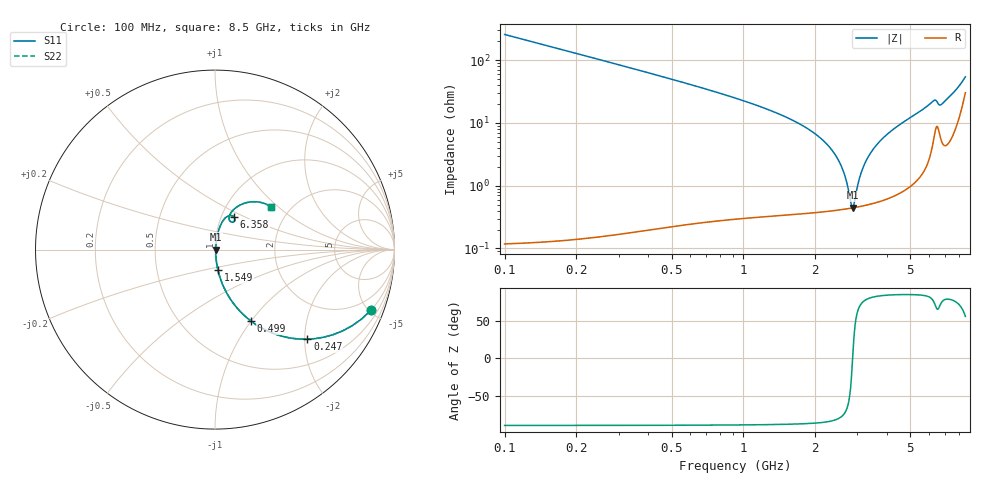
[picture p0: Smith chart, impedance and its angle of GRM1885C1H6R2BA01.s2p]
!Murata Part Number: GRM1885C1H6R2BA01
!These Parameters are Measured in Series Mode Connection
!Data Generated on Mar 30, 2021
!  o--ll--o
!Port1  Port2
!  o------o
!Operation Temp=25[degC], DC Bias Voltage=0[V]
!Freq. Start=100[MHz] Stop=9[GHz] 401[Steps]
# Hz S RI R 50
!Freq.(Hz) S11(Real) S11(Imag) S21(Real) S21(Imag) S12(Real) S12(Imag) S22(Real) S22(Imag)
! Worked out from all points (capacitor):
!   401 points, 100 MHz to 8.5 GHz, reference 50 ohm
!   read as one part in series: C = 6.2 pF near 142 MHz
!   lowest |Z| = 445 mohm at 2.872 GHz (marker M1)
!   series resonance near 2.866 GHz, so ESL is about 500 pH
!   S11 on the Smith chart (normalised r, x): 100 MHz: 1.00, -5.13; 247 MHz: 1.00, -2.06; 499 MHz: 1.00, -1.00; 1.549 GHz: 1.01, -0.24; 6.358 GHz: 1.15, +0.44; 8.5 GHz: 1.61, +0.90
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1e8  0.8678 -0.3385  0.1322 0.3385  0.1322 0.3385  0.8678 -0.3385
2.47e8  0.5152 -0.499  0.4848 0.499  0.4848 0.499  0.5152 -0.499
3.73e8  0.3141 -0.4628  0.6859 0.4628  0.6859 0.4628  0.3141 -0.4628
4.99e8  0.2 -0.3978  0.8 0.3978  0.8 0.3978  0.2 -0.3978
8.56e8  0.0717 -0.2528  0.9283 0.2528  0.9283 0.2528  0.0717 -0.2528
1.507e9  0.0184 -0.1212  0.9816 0.1212  0.9816 0.1212  0.0184 -0.1212
1.549e9  0.017 -0.1156  0.983 0.1156  0.983 0.1156  0.017 -0.1156
2.095e9  0.00707 -0.0573  0.9929 0.0573  0.9929 0.0573  0.00707 -0.0573
2.431e9  0.00492 -0.03  0.9951 0.03  0.9951 0.03  0.00492 -0.03
2.641e9  0.00442 -0.0149  0.9956 0.0149  0.9956 0.0149  0.00442 -0.0149
2.83e9  0.00438 -0.00229  0.9956 0.00229  0.9956 0.00229  0.00438 -0.00229
2.872e9  0.00441 0.000407  0.9956 -0.000407  0.9956 -0.000407  0.00441 0.000407
2.914e9  0.00447 0.00307  0.9955 -0.00307  0.9955 -0.00307  0.00447 0.00307
3.103e9  0.00488 0.0147  0.9951 -0.0147  0.9951 -0.0147  0.00488 0.0147
3.355e9  0.00586 0.0295  0.9941 -0.0295  0.9941 -0.0295  0.00586 0.0295
3.733e9  0.00814 0.0504  0.9919 -0.0504  0.9919 -0.0504  0.00814 0.0504
4.3e9  0.0134 0.0804  0.9866 -0.0804  0.9866 -0.0804  0.0134 0.0804
5.707e9  0.0432 0.1589  0.9568 -0.1589  0.9568 -0.1589  0.0432 0.1589
6.358e9  0.1066 0.1818  0.8934 -0.1818  0.8934 -0.1818  0.1066 0.1818
6.652e9  0.0858 0.1566  0.9142 -0.1566  0.9142 -0.1566  0.0858 0.1566
7.114e9  0.089 0.2055  0.911 -0.2055  0.911 -0.2055  0.089 0.2055
8.5e9  0.3146 0.2372  0.6854 -0.2372  0.6854 -0.2372  0.3146 0.2372
